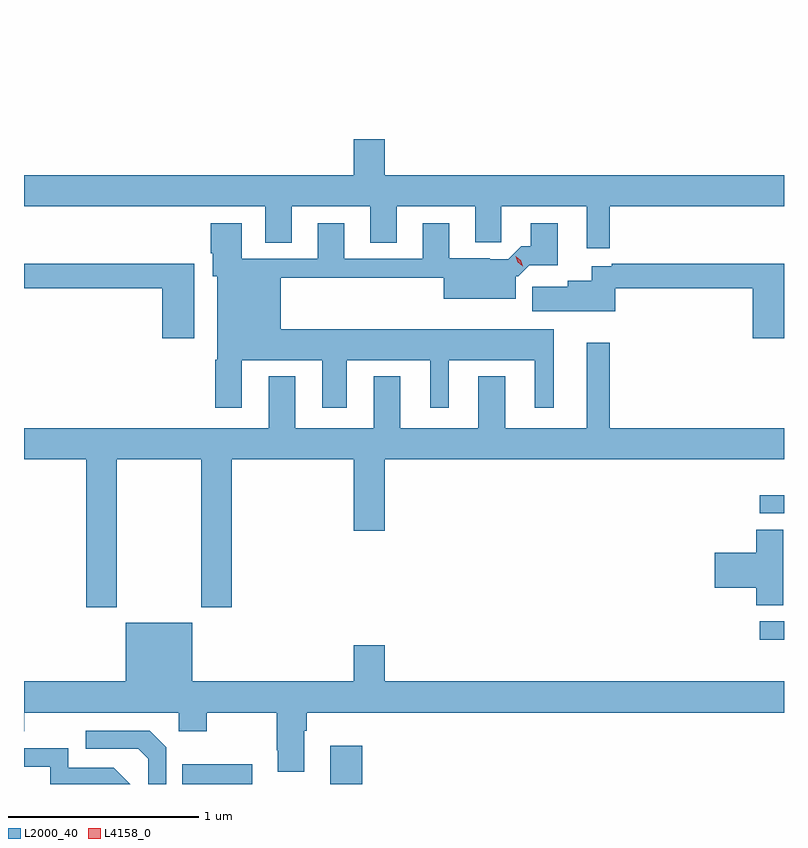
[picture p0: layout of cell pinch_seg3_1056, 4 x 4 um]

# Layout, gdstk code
import gdstk
lib = gdstk.Library(unit=1e-6, precision=1e-09)
def R(c, l, rs):  # rectangles x0, y0, x1, y1
    for r in rs: c.add(gdstk.rectangle(r[:2], r[2:], *l))
def P(c, l, *ps):  # polygons
    for p in ps: c.add(gdstk.Polygon(p, *l))
L2000_40 = (2000, 40)
L4158_0 = (4158, 0)

pinch_seg3_1056 = lib.new_cell('pinch_seg3_1056')
R(pinch_seg3_1056, L2000_40, [(295.975,725.848,296.342,725.953), (296.753,725.848,296.921,726.049), (299.013,726.607,299.141,726.705), (299.013,727.272,299.141,727.368), (296.876,729.846,297.04,729.848)])
P(pinch_seg3_1056, L2000_40, [(297.04,729.241),(296.876,729.241),(296.876,729.052),(295.141,729.052),(295.141,728.888),(296.411,728.888),(296.411,728.698),(296.551,728.698),(296.551,728.888),(296.963,728.888),(296.963,728.698),(297.103,728.698),(297.103,728.888),(297.515,728.888),(297.515,728.699),(297.654,728.699),(297.654,728.888),(298.103,728.888),(298.103,728.667),(298.224,728.667),(298.224,728.888),(299.141,728.888),(299.141,729.052),(297.04,729.052)],
  [(296.287,728.078),(296.711,728.078),(296.711,727.827),(296.839,727.827),(296.839,728.078),(297.278,728.078),(297.278,727.827),(297.376,727.827),(297.376,728.078),(297.83,728.078),(297.83,727.827),(297.928,727.827),(297.928,728.242),(296.491,728.242),(296.491,728.512),(297.35,728.512),(297.35,728.402),(297.73,728.402),(297.73,728.52),(297.741,728.52),(297.8,728.579),(297.949,728.579),(297.949,728.8),(297.809,728.8),(297.809,728.677),(297.757,728.677),(297.69,728.61),(297.593,728.61),(297.593,728.614),(297.379,728.614),(297.379,728.8),(297.239,728.8),(297.239,728.613),(296.827,728.613),(296.827,728.8),(296.687,728.8),(296.687,728.613),(296.287,728.613),(296.287,728.8),(296.123,728.8),(296.123,728.641),(296.135,728.641),(296.135,728.52),(296.159,728.52),(296.159,728.082),(296.147,728.082),(296.147,727.827),(296.287,727.827)],
  [(296.038,728.587),(295.141,728.587),(295.141,728.458),(295.868,728.458),(295.868,728.193),(296.038,728.193)],
  [(299.141,728.587),(298.336,728.587),(298.336,728.586),(298.234,728.586),(298.234,728.574),(298.13,728.574),(298.13,728.497),(298.004,728.497),(298.004,728.466),(297.815,728.466),(297.815,728.336),(298.253,728.336),(298.253,728.458),(298.976,728.458),(298.976,728.193),(299.141,728.193)],
  [(295.629,727.556),(296.074,727.556),(296.074,726.777),(296.234,726.777),(296.234,727.556),(296.876,727.556),(296.876,727.182),(297.04,727.182),(297.04,727.556),(299.141,727.556),(299.141,727.72),(298.225,727.72),(298.225,728.17),(298.103,728.17),(298.103,727.72),(297.673,727.72),(297.673,727.993),(297.533,727.993),(297.533,727.72),(297.121,727.72),(297.121,727.993),(296.981,727.993),(296.981,727.72),(296.569,727.72),(296.569,727.993),(296.429,727.993),(296.429,727.72),(295.141,727.72),(295.141,727.556),(295.469,727.556),(295.469,726.777),(295.629,726.777)],
  [(299.137,727.187),(298.994,727.187),(298.994,727.064),(298.776,727.064),(298.776,726.881),(298.994,726.881),(298.994,726.79),(299.137,726.79)],
  [(299.141,726.388),(297.04,726.388),(297.04,726.577),(296.876,726.577),(296.876,726.388),(296.026,726.388),(296.026,726.697),(295.676,726.697),(295.676,726.388),(295.141,726.388),(295.141,726.125),(295.143,726.125),(295.143,726.224),(295.956,726.224),(295.956,726.125),(296.103,726.125),(296.103,726.224),(296.47,726.224),(296.47,726.025),(296.477,726.025),(296.477,725.913),(296.617,725.913),(296.617,726.128),(296.63,726.128),(296.63,726.224),(299.141,726.224)],
  [(295.89,726.042),(295.803,726.129),(295.467,726.129),(295.467,726.033),(295.743,726.033),(295.794,725.982),(295.794,725.848),(295.89,725.848)],
  [(295.614,725.934),(295.374,725.934),(295.374,726.036),(295.141,726.036),(295.141,725.94),(295.278,725.94),(295.278,725.848),(295.7,725.848)])
P(pinch_seg3_1056, L4158_0, [(297.766,728.573),(297.766,728.574),(297.74,728.594),(297.73,728.625),(297.73,728.625),(297.73,728.625),(297.756,728.605),(297.766,728.574)])

lib.write_gds('pinch_seg3_1056.gds')
